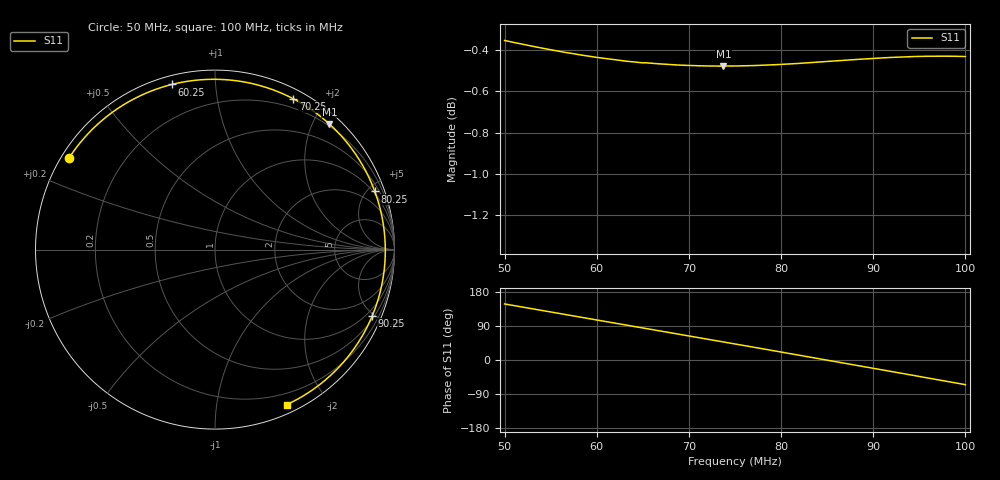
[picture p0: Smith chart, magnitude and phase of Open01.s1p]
!Agilent Technologies,E5072A,MY51200456,A.01.06
!Date: Wed Sep 02 20:41:22 2015
!Data & Calibration Information:
!Freq	S11:SOLT1(ON)
!PortZ  Port1:50+j0
!Above PortZ is port z conversion or system Z0 setting when saving the data.
!When reading, reference impedance value at option line is always used.
# Hz S dB R 50
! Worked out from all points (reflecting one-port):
!   201 points, 50 MHz to 100 MHz, reference 50 ohm
!   lowest |S11| = -0.5 dB at 73.75 MHz (marker M1), VSWR 36.42, Z = 8.38 + j113 ohm
!   phase of S11 starts at 148 deg and turns -213 deg over the sweep
!   S11 on the Smith chart (normalised r, x): 50 MHz: 0.02, +0.29; 60.25 MHz: 0.04, +0.77; 70.25 MHz: 0.10, +1.64; 80.25 MHz: 0.87, +5.54; 90.25 MHz: 0.63, -4.85; 100 MHz: 0.09, -1.56
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5e7  -0.35 147.9
5.325e7  -0.38 134.2
5.625e7  -0.41 121.5
5.825e7  -0.42 113.1
6.025e7  -0.44 104.7
6.25e7  -0.45 95.2
6.4e7  -0.46 88.9
6.55e7  -0.46 82.6
6.7e7  -0.47 76.2
6.875e7  -0.47 68.8
7.025e7  -0.47 62.5
7.2e7  -0.48 55.1
7.375e7  -0.48 47.7
7.5e7  -0.48 42.4
7.775e7  -0.47 30.7
8.025e7  -0.47 20.0
8.125e7  -0.47 15.7
8.3e7  -0.46 8.2
8.45e7  -0.46 1.8
8.6e7  -0.45 -4.6
8.75e7  -0.45 -11.1
9.025e7  -0.44 -22.9
9.2e7  -0.43 -30.5
9.375e7  -0.43 -38.0
9.525e7  -0.43 -44.5
9.7e7  -0.43 -52.1
9.85e7  -0.43 -58.6
1e8  -0.43 -65.1
